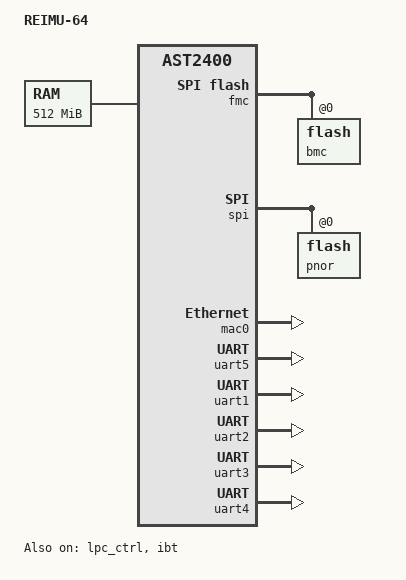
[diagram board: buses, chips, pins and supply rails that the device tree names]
// SPDX-License-Identifier: GPL-2.0+
// Copyright 2020 MCST
/dts-v1/;

#include "aspeed-g4.dtsi"
#include <dt-bindings/gpio/aspeed-gpio.h>

/ {
	model = "REIMU-64";
	compatible = "mcst,reimu-64", "aspeed,ast2400";

	aliases {
		serial4 = &uart5; /* AST - Service connector */
		serial0 = &uart1; /* AST - IOHUB ttyS1 */
	};
	chosen {
		stdout-path = "serial4:115200n8";
		bootargs = "console=ttyS4,115200 earlyprintk";
	};

	memory {
		reg = <0x40000000 0x20000000>;
	};

	reserved-memory {
		ranges;

		vga_memory: framebuffer@5f000000 {
			no-map;
			reg = <0x5f000000 0x01000000>; /* 16MB */
		};
		flash_memory: region@5c000000 {
			no-map;
			reg = <0x5c000000 0x02000000>; /* 32M */
		};
	};

};

&fmc {
	status = "okay";
	flash@0 {
		status = "okay";
		m25p,fast-read;
        label = "bmc";
#include "openbmc-flash-layout.dtsi"
	};
};

&spi {
	status = "okay";
	pinctrl-names = "default";
	pinctrl-0 = <&pinctrl_spi1debug_default>;
	flash@0 {
		status = "okay";
		label = "pnor";
		m25p,fast-read;
	};
};

&mac0 {
	status = "okay";
	no-hw-checksum;
	pinctrl-names = "default";
	pinctrl-0 = <&pinctrl_rmii1_default>;
};


&uart5 {
	status = "okay";
};

&lpc_ctrl {
	status = "okay";
	memory-region = <&flash_memory>;
	flash = <&spi>;
};

&ibt {
	status = "okay";
};

&uart1 {
	status = "okay";
	pinctrl-names = "default";
	pinctrl-0 = <&pinctrl_txd1_default &pinctrl_rxd1_default>;
};

&uart2 {
	status = "okay";
	pinctrl-names = "default";
	pinctrl-0 = <&pinctrl_txd2_default &pinctrl_rxd2_default>;
};

&uart3 {
	status = "okay";
	pinctrl-names = "default";
	pinctrl-0 = <&pinctrl_txd3_default &pinctrl_rxd3_default>;
};

&uart4 {
	status = "okay";
	pinctrl-names = "default";
	pinctrl-0 = <&pinctrl_txd4_default &pinctrl_rxd4_default>;
};
